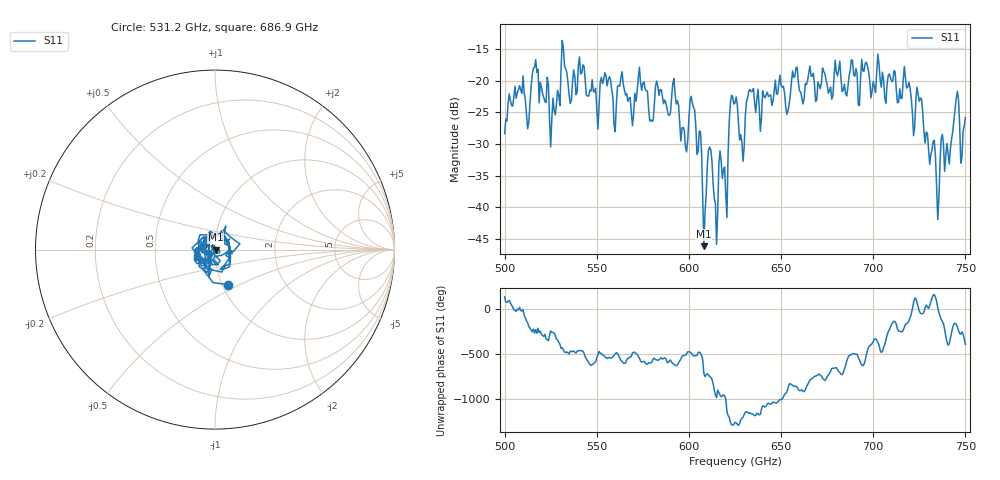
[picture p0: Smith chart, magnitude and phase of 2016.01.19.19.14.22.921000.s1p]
!Created with skrf (http://scikit-rf.org).
# GHz S RI R 50.0
!freq ReS11 ImS11
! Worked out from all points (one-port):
!   401 points, 500 GHz to 750 GHz, reference 50 ohm
!   lowest |S11| = -46.2 dB at 608.1 GHz (marker M1), VSWR 1.01, Z = 50.5 + j0.00875 ohm
!   |S11| at or under -10 dB: start of sweep to end of sweep
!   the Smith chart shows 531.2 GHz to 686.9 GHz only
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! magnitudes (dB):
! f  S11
! 500 GHz  -28.4
! 508.8 GHz  -21.5
! 512.5 GHz  -27.6
! 516.9 GHz  -16.7
! 526.2 GHz  -22.8
! 531.2 GHz  -13.6
! 550 GHz  -24.4
! 555.6 GHz  -20.8
! 559.4 GHz  -27.0
! 562.5 GHz  -20.9
! 593.8 GHz  -23.2
! 598.1 GHz  -30.6
! 601.9 GHz  -23.6
! 608.1 GHz  -46.2
! 611.2 GHz  -30.5
! 614.4 GHz  -39.4
! 617.5 GHz  -32.8
! 619.4 GHz  -33.6
! 625 GHz  -23.5
! 628.8 GHz  -29.7
! 633.8 GHz  -21.7
! 656.2 GHz  -18.5
! 687.5 GHz  -18.4
! 718.8 GHz  -21.0
! 725 GHz  -23.3
! 735 GHz  -41.9
! 745 GHz  -22.9
! 750 GHz  -25.8
